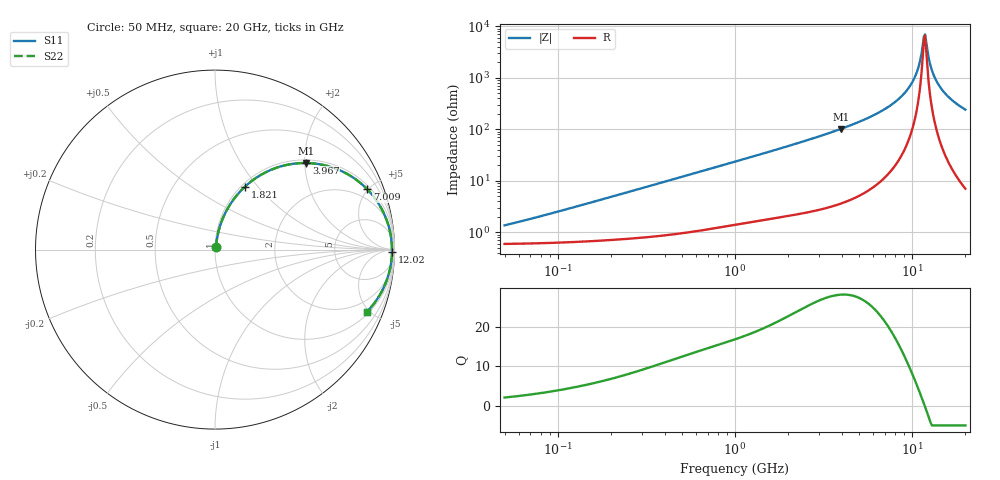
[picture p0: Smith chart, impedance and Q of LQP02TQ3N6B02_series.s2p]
!Murata Part Number: LQP02TQ3N6B02
!These Parameters are Measured in Series Mode Connection
!  o--[Z]--o
!Port1  Port2
!  o-------o
!Freq. Start=50[MHz] Stop=20[GHz], 401[Steps]
# Hz S RI R 50
!Freq.(Hz) S11(Real) S11(Imag) S21(Real) S21(Imag) S12(Real) S12(Imag) S22(Real) S22(Imag)
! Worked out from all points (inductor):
!   401 points, 50 MHz to 20 GHz, reference 50 ohm
!   read as one part in series: L = 3.91 nH near 74.92 MHz
!   highest Q = 28.1 at 3.967 GHz (marker M1), where L = 4.09 nH
!   self-resonance near 11.66 GHz
!   S11 on the Smith chart (normalised r, x): 50 MHz: 1.01, +0.02; 1.821 GHz: 1.04, +0.86; 3.967 GHz: 1.07, +2.04; 7.009 GHz: 1.23, +4.93; 12.02 GHz: 67, -72; 20 GHz: 1.14, -4.82
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5e7  0.00609 0.0122  0.9939 -0.0122  0.9939 -0.0122  0.00609 0.0122
1.364002e8  0.00765 0.0328  0.9923 -0.0328  0.9923 -0.0328  0.00765 0.0328
3.721004e8  0.0161 0.0869  0.9839 -0.0869  0.9839 -0.0869  0.0161 0.0869
1e9  0.0643 0.2173  0.9357 -0.2173  0.9357 -0.2173  0.0643 0.2173
1.820564e9  0.1671 0.3508  0.8329 -0.3508  0.8329 -0.3508  0.1671 0.3508
2.728004e9  0.31 0.4436  0.69 -0.4436  0.69 -0.4436  0.31 0.4436
3.967106e9  0.5096 0.4824  0.4904 -0.4824  0.4904 -0.4824  0.5096 0.4824
5.273168e9  0.6862 0.4458  0.3138 -0.4458  0.3138 -0.4458  0.6862 0.4458
7.009217e9  0.8475 0.3369  0.1525 -0.3369  0.1525 -0.3369  0.8475 0.3369
7.442007e9  0.8758 0.3053  0.1242 -0.3053  0.1242 -0.3053  0.8758 0.3053
8.774992e9  0.9389 0.206  0.0611 -0.206  0.0611 -0.206  0.9389 0.206
9.892087e9  0.969 0.1251  0.031 -0.1251  0.031 -0.1251  0.969 0.1251
1.034674e10  0.9765 0.0934  0.0235 -0.0934  0.0235 -0.0934  0.9765 0.0934
1.082228e10  0.9819 0.0613  0.0181 -0.0613  0.0181 -0.0613  0.9819 0.0613
1.149051e10  0.9858 0.018  0.0142 -0.018  0.0142 -0.018  0.9858 0.018
1.166392e10  0.9862 0.00708  0.0138 -0.00708  0.0138 -0.00708  0.9862 0.00708
1.201863e10  0.9861 -0.0147  0.0139 0.0147  0.0139 0.0147  0.9861 -0.0147
1.257102e10  0.9843 -0.0473  0.0157 0.0473  0.0157 0.0473  0.9843 -0.0473
1.295331e10  0.9819 -0.0689  0.0181 0.0689  0.0181 0.0689  0.9819 -0.0689
1.417136e10  0.9689 -0.1329  0.0311 0.1329  0.0311 0.1329  0.9689 -0.1329
1.646126e10  0.9288 -0.2338  0.0712 0.2338  0.0712 0.2338  0.9288 -0.2338
2e10  0.8462 -0.3465  0.1538 0.3465  0.1538 0.3465  0.8462 -0.3465
